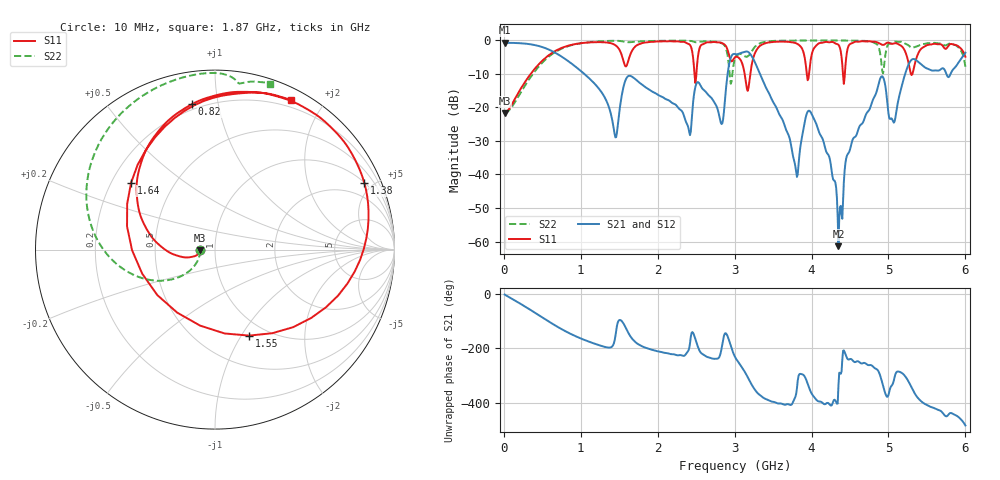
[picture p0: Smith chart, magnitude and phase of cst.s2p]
! G_pp100: Plane pair 50 × 30 mm, d = 0.1 mm, ports at a corner and the centre
! stackup: plane pair, 0.1 mm FR-4
! ports: 1 corner, 2 centre
! CST Studio Suite 2025.5 Release from 2025-05-30, time domain (FIT, hexahedral, PBA), 71706 mesh cells, 68 s
! mesh: {'lpw': 20, 'lpb': 20, 'minstep': 0.0, 'ratio': 20}; ports: port 1 (edge); port 2 (edge)
! interpolated from CST's 1001 samples to the case grid
# Hz S RI R 1
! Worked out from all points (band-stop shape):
!   600 points, 10 MHz to 6 GHz, reference 1 ohm
!   highest |S21| = -0.74 dB at 10 MHz (marker M1); lowest = -61.4 dB at 4.35 GHz (marker M2)
!   |S21| within 3 dB of the highest: start of sweep to 670 MHz; 3.086 GHz to 3.19 GHz (104.5 MHz wide, 3.33 % of centre) (the widest 2 of 3)
!   lowest |S11| = -21.8 dB at 10 MHz (marker M3), VSWR 1.18, Z = 0.849 - j0.00663 ohm
!   |S11| at or under -10 dB: start of sweep to 350.5 MHz; 2.478 GHz to 2.503 GHz (24.61 MHz wide, 0.988 % of centre); 3.13 GHz to 3.204 GHz (73.84 MHz wide, 2.33 % of centre) (the widest 3 of 6)
!   |S22| runs from -21.7 to 0.0 dB; largest |S21 - S12| = 0.0021
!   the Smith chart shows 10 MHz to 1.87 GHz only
!   S11 on the Smith chart (normalised r, x): 10 MHz: 0.85, -0.01; 820 MHz: 0.17, +0.84; 1.38 GHz: 1.03, +4.48; 1.55 GHz: 0.83, -1.08; 1.64 GHz: 0.28, +0.32; 1.87 GHz: 0.12, +1.62
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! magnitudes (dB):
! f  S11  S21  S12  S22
! 10 MHz  -21.8  -0.7  -0.7  -21.7
! 820 MHz  -1.7  -5.9  -5.9  -1.9
! 1.01 GHz  -0.8  -9.3  -9.3  -0.8
! 1.38 GHz  -0.8  -20.9  -21.0  -0.2
! 1.46 GHz  -1.6  -28.9  -28.8  -0.1
! 1.55 GHz  -5.8  -14.4  -14.4  -0.3
! 1.64 GHz  -4.5  -10.6  -10.6  -0.6
! 1.87 GHz  -0.6  -14.4  -14.4  -0.2
! 2.01 GHz  -0.4  -16.4  -16.3  -0.2
! 2.53 GHz  -3.8  -12.5  -12.6  -0.5
! 2.83 GHz  -0.8  -25.0  -24.8  -0.9
! 3.01 GHz  -5.0  -4.1  -4.1  -5.1
! 3.17 GHz  -15.1  -3.4  -3.4  -4.8
! 3.33 GHz  -1.6  -10.1  -10.1  -0.9
! 3.8 GHz  -0.9  -39.3  -39.3  -0.1
! 4.01 GHz  -3.5  -22.4  -22.4  -0.1
! 4.35 GHz  -1.3  -61.4  -61.9  -0.1
! 4.47 GHz  -2.4  -33.9  -33.9  -0.1
! 4.89 GHz  -1.0  -11.6  -11.6  -3.7
! 5.01 GHz  -0.8  -23.2  -23.1  -1.0
! 5.3 GHz  -10.4  -5.8  -5.8  -2.2
! 6 GHz  -4.9  -3.7  -3.7  -7.9
